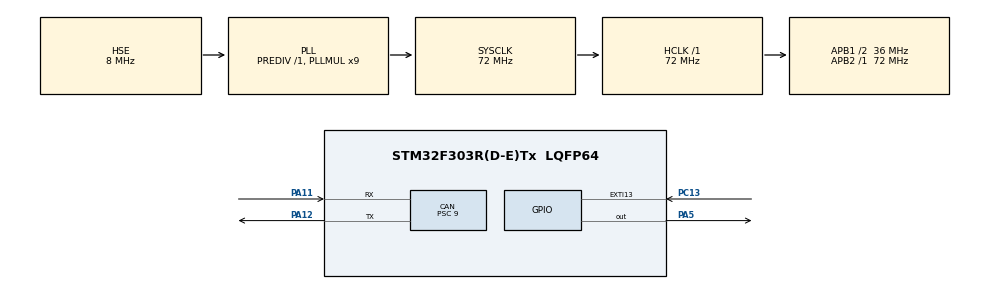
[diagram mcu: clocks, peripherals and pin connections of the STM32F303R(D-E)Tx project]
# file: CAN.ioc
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CAN.BS1=CAN_BS1_3TQ
CAN.BS2=CAN_BS2_4TQ
CAN.CalculateBaudRate=500000
CAN.CalculateTimeBit=2000
CAN.CalculateTimeQuantum=250.0
CAN.Prescaler=9
CAN.SJW=CAN_SJW_1TQ
Mcu.Family=STM32F3
Mcu.Name=STM32F303R(D-E)Tx
Mcu.Package=LQFP64
NVIC.PriorityGroup=NVIC_PRIORITYGROUP_0
NVIC.USB_LP_CAN_RX0_IRQn=true\:0\:0\:false\:false\:true\:true\:true\:true
PA11.GPIO_PuPd=GPIO_PULLUP
PA11.Mode=CAN_Activate
PA11.Signal=CAN_RX
PA12.Mode=CAN_Activate
PA12.Signal=CAN_TX
PA5.Signal=GPIO_Output
PC13.Signal=GPXTI13
PF0-OSC_IN.Mode=HSE-External-Oscillator
PF0-OSC_IN.Signal=RCC_OSC_IN
PF1-OSC_OUT.Mode=HSE-External-Oscillator
PF1-OSC_OUT.Signal=RCC_OSC_OUT
ProjectManager.HeapSize=0x200
ProjectManager.StackSize=0x400
ProjectManager.TargetToolchain=STM32CubeIDE
RCC.AHBFreq_Value=72000000
RCC.APB1CLKDivider=RCC_HCLK_DIV2
RCC.APB1Freq_Value=36000000
RCC.APB1TimFreq_Value=72000000
RCC.APB2Freq_Value=72000000
RCC.APB2TimFreq_Value=72000000
RCC.CortexFreq_Value=72000000
RCC.HCLKFreq_Value=72000000
RCC.HSE_VALUE=8000000
RCC.HSI_VALUE=8000000
RCC.LSE_VALUE=32768
RCC.PLLM=8
RCC.PLLMUL=RCC_PLL_MUL9
RCC.PLLN=336
RCC.PLLP=RCC_PLLP_DIV4
RCC.PLLQ=7
RCC.PLLSourceVirtual=RCC_PLLSOURCE_HSE
RCC.RCC_PLLsource_Clock_Source_FROM_HSE=RCC_HSE_PREDIV_DIV2
RCC.SYSCLKFreq_VALUE=72000000
RCC.SYSCLKSourceVirtual=RCC_SYSCLKSOURCE_PLLCLK
RCC.USBFreq_Value=72000000
board=NUCLEO-F303RE

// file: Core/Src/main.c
/* USER CODE BEGIN Header */
/**
  ******************************************************************************
  * @file           : main.c
  * @brief          : Main program body
  ******************************************************************************
  * @attention
  *
  * Copyright (c) 2025 STMicroelectronics.
  * All rights reserved.
  *
  * This software is licensed under terms that can be found in the LICENSE file
  * in the root directory of this software component.
  * If no LICENSE file comes with this software, it is provided AS-IS.
  *
  ******************************************************************************
  */
/* USER CODE END Header */
#include "main.h"

CAN_HandleTypeDef hcan;

/* USER CODE BEGIN PV */
CAN_RxHeaderTypeDef rxHeader; //CAN Bus Transmit Header
CAN_TxHeaderTypeDef txHeader; //CAN Bus Receive Header
uint8_t canRX[8] = {0,0,0,0,0,0,0,0};  //CAN Bus Receive Buffer
CAN_FilterTypeDef canfil; //CAN Bus Filter
uint32_t canMailbox; //CAN Bus Mail box variable

/* USER CODE END PV */

void SystemClock_Config(void);
static void MX_GPIO_Init(void);
static void MX_CAN_Init(void);

int main(void)
{

  /* MCU Configuration--------------------------------------------------------*/

  /* Reset of all peripherals, Initializes the Flash interface and the Systick. */
  HAL_Init();

  /* Configure the system clock */
  SystemClock_Config();

  /* Initialize all configured peripherals */
  MX_GPIO_Init();
  MX_CAN_Init();
  /* USER CODE BEGIN 2 */

  canfil.FilterBank = 0;
   canfil.FilterMode = CAN_FILTERMODE_IDMASK;
   canfil.FilterFIFOAssignment = CAN_RX_FIFO0;
   canfil.FilterIdHigh = 0x030<<5;
   canfil.FilterIdLow = 0;
   canfil.FilterMaskIdHigh = 0x7FF<<5;
   canfil.FilterMaskIdLow = 0;
   canfil.FilterScale = CAN_FILTERSCALE_32BIT;
   canfil.FilterActivation = ENABLE;
   canfil.SlaveStartFilterBank = 14;

   txHeader.DLC = 8;
   txHeader.IDE = CAN_ID_STD;
   txHeader.RTR = CAN_RTR_DATA;
   txHeader.StdId = 0x032;
   txHeader.ExtId = 0x02;
   txHeader.TransmitGlobalTime = DISABLE;

   HAL_CAN_ConfigFilter(&hcan,&canfil);
   HAL_CAN_Start(&hcan);
   HAL_CAN_ActivateNotification(&hcan,CAN_IT_RX_FIFO0_MSG_PENDING);

  /* USER CODE END 2 */

  /* Infinite loop */
  while (1)
  {
	  uint8_t csend[] = {0x24,0x25,0x26,0x27,0x28};
      HAL_CAN_AddTxMessage(&hcan,&txHeader,csend,&canMailbox);
      HAL_Delay(1000);
  }
}

void SystemClock_Config(void)
{
  RCC_OscInitTypeDef RCC_OscInitStruct = {0};
  RCC_ClkInitTypeDef RCC_ClkInitStruct = {0};

  /** Initializes the RCC Oscillators according to the specified parameters
  * in the RCC_OscInitTypeDef structure.
  */
  RCC_OscInitStruct.OscillatorType = RCC_OSCILLATORTYPE_HSE;
  RCC_OscInitStruct.HSEState = RCC_HSE_ON;
  RCC_OscInitStruct.HSIState = RCC_HSI_ON;
  RCC_OscInitStruct.PLL.PLLState = RCC_PLL_ON;
  RCC_OscInitStruct.PLL.PLLSource = RCC_PLLSOURCE_HSE;
  RCC_OscInitStruct.PLL.PLLMUL = RCC_PLL_MUL9;
  RCC_OscInitStruct.PLL.PREDIV = RCC_PREDIV_DIV1;
  if (HAL_RCC_OscConfig(&RCC_OscInitStruct) != HAL_OK)
  {
    Error_Handler();
  }

  /** Initializes the CPU, AHB and APB buses clocks
  */
  RCC_ClkInitStruct.ClockType = RCC_CLOCKTYPE_HCLK|RCC_CLOCKTYPE_SYSCLK
                              |RCC_CLOCKTYPE_PCLK1|RCC_CLOCKTYPE_PCLK2;
  RCC_ClkInitStruct.SYSCLKSource = RCC_SYSCLKSOURCE_PLLCLK;
  RCC_ClkInitStruct.AHBCLKDivider = RCC_SYSCLK_DIV1;
  RCC_ClkInitStruct.APB1CLKDivider = RCC_HCLK_DIV2;
  RCC_ClkInitStruct.APB2CLKDivider = RCC_HCLK_DIV1;

  if (HAL_RCC_ClockConfig(&RCC_ClkInitStruct, FLASH_LATENCY_2) != HAL_OK)
  {
    Error_Handler();
  }
}

static void MX_CAN_Init(void)
{

  hcan.Instance = CAN;
  hcan.Init.Prescaler = 9;
  hcan.Init.Mode = CAN_MODE_NORMAL;
  hcan.Init.SyncJumpWidth = CAN_SJW_1TQ;
  hcan.Init.TimeSeg1 = CAN_BS1_3TQ;
  hcan.Init.TimeSeg2 = CAN_BS2_4TQ;
  hcan.Init.TimeTriggeredMode = DISABLE;
  hcan.Init.AutoBusOff = DISABLE;
  hcan.Init.AutoWakeUp = DISABLE;
  hcan.Init.AutoRetransmission = DISABLE;
  hcan.Init.ReceiveFifoLocked = DISABLE;
  hcan.Init.TransmitFifoPriority = DISABLE;
  if (HAL_CAN_Init(&hcan) != HAL_OK)
  {
    Error_Handler();
  }

}

static void MX_GPIO_Init(void)
{
  GPIO_InitTypeDef GPIO_InitStruct = {0};

  /* GPIO Ports Clock Enable */
  __HAL_RCC_GPIOC_CLK_ENABLE();
  __HAL_RCC_GPIOF_CLK_ENABLE();
  __HAL_RCC_GPIOA_CLK_ENABLE();

  /*Configure GPIO pin Output Level */
  HAL_GPIO_WritePin(GPIOA, GPIO_PIN_5, GPIO_PIN_RESET);

  /*Configure GPIO pin : PC13 */
  GPIO_InitStruct.Pin = GPIO_PIN_13;
  GPIO_InitStruct.Mode = GPIO_MODE_IT_RISING;
  GPIO_InitStruct.Pull = GPIO_NOPULL;
  HAL_GPIO_Init(GPIOC, &GPIO_InitStruct);

  /*Configure GPIO pin : PA5 */
  GPIO_InitStruct.Pin = GPIO_PIN_5;
  GPIO_InitStruct.Mode = GPIO_MODE_OUTPUT_PP;
  GPIO_InitStruct.Pull = GPIO_NOPULL;
  GPIO_InitStruct.Speed = GPIO_SPEED_FREQ_LOW;
  HAL_GPIO_Init(GPIOA, &GPIO_InitStruct);

}

void Error_Handler(void)
{
  __disable_irq();
  while (1)
  {
  }
}

void HAL_CAN_RxFifo0MsgPendingCallback(CAN_HandleTypeDef *hcan1)
{
	HAL_CAN_GetRxMessage(hcan1, CAN_RX_FIFO0, &rxHeader, canRX); //Receive CAN bus message to canRX buffer
	HAL_GPIO_TogglePin(GPIOA, GPIO_PIN_5);// toggle PA3 LED

}
